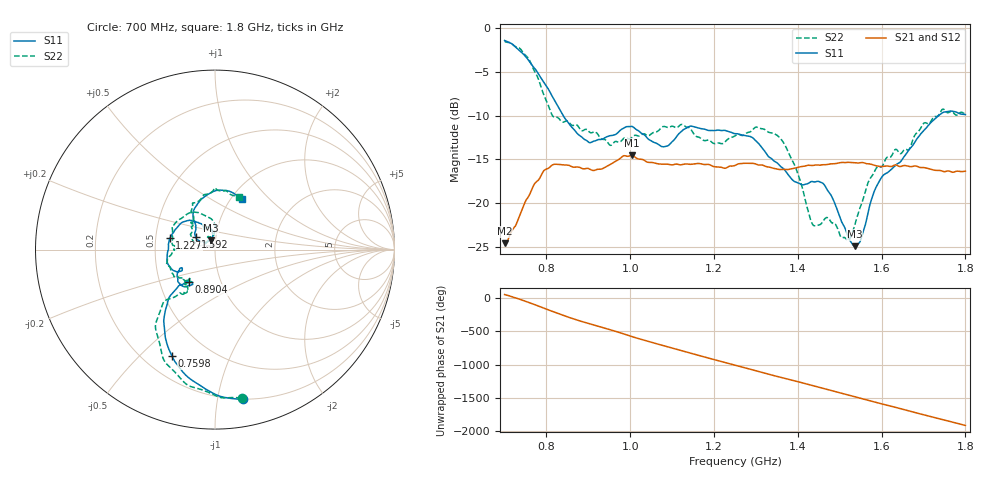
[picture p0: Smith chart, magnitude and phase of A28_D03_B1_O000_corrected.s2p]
! Created with skrf 1.9.0 (http://scikit-rf.org).
# Hz S RI R 50.0
!freq ReS11 ImS11 ReS21 ImS21 ReS12 ImS12 ReS22 ImS22
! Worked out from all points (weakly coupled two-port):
!   1601 points, 700 MHz to 1.8 GHz, reference 50 ohm
!   highest |S21| = -14.57 dB at 1.005 GHz (marker M1); lowest = -24.6 dB at 700.7 MHz (marker M2)
!   lowest |S11| = -24.9 dB at 1.535 GHz (marker M3), VSWR 1.12, Z = 47.4 + j4.84 ohm
!   |S11| at or under -10 dB: 839.7 MHz to 1.736 GHz (896.5 MHz wide, 69.6 % of centre)
!   |S22| runs from -24.3 to -1.5 dB; largest |S21 - S12| = 0.0036
!   S11 on the Smith chart (normalised r, x): 700 MHz: 0.20, -1.19; 759.8 MHz: 0.31, -0.63; 890.4 MHz: 0.70, -0.27; 1.227 GHz: 0.59, +0.08; 1.592 GHz: 0.80, +0.12; 1.8 GHz: 1.13, +0.71
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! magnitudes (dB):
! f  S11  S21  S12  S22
! 700 MHz  -1.4  -24.6  -24.4  -1.5
! 700.7 MHz  -1.4  -24.6  -24.3  -1.5
! 759.8 MHz  -3.9  -19.0  -18.9  -3.7
! 814.8 MHz  -7.9  -15.6  -15.7  -10.0
! 883.6 MHz  -12.4  -16.0  -15.9  -11.7
! 890.4 MHz  -12.7  -16.1  -16.1  -11.6
! 953 MHz  -12.3  -15.6  -15.6  -13.4
! 1.005 GHz  -11.3  -14.6  -14.7  -12.5
! 1.067 GHz  -13.3  -15.5  -15.5  -11.7
! 1.143 GHz  -11.2  -15.6  -15.6  -11.5
! 1.227 GHz  -11.7  -16.0  -15.9  -13.0
! 1.25 GHz  -12.1  -15.7  -15.6  -12.3
! 1.358 GHz  -15.8  -16.2  -16.1  -12.6
! 1.396 GHz  -17.6  -16.0  -16.0  -16.2
! 1.434 GHz  -17.5  -15.7  -15.7  -22.3
! 1.465 GHz  -18.1  -15.6  -15.6  -21.8
! 1.518 GHz  -23.6  -15.4  -15.4  -24.2
! 1.535 GHz  -24.9  -15.4  -15.4  -22.6
! 1.592 GHz  -17.7  -15.8  -15.8  -15.8
! 1.617 GHz  -16.4  -15.8  -15.8  -14.8
! 1.74 GHz  -9.9  -16.3  -16.3  -9.6
! 1.8 GHz  -9.9  -16.4  -16.4  -9.9
